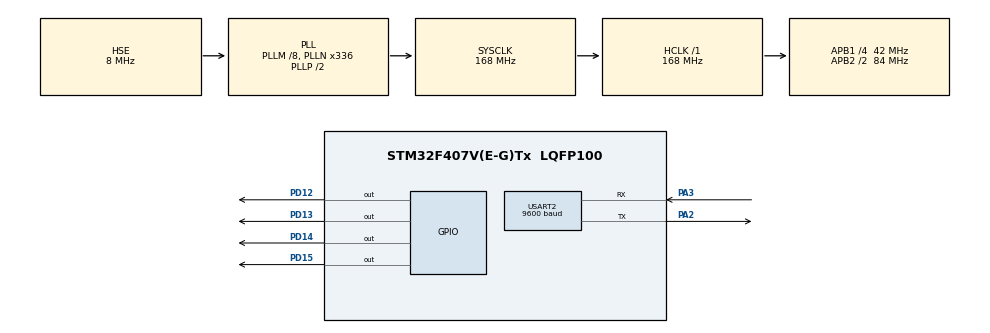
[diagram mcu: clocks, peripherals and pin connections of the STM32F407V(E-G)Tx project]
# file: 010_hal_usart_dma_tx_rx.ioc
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Dma.Request0=USART2_RX
Dma.Request1=USART2_TX
Dma.USART2_RX.0.Direction=DMA_PERIPH_TO_MEMORY
Dma.USART2_RX.0.FIFOMode=DMA_FIFOMODE_DISABLE
Dma.USART2_RX.0.Instance=DMA1_Stream5
Dma.USART2_RX.0.MemDataAlignment=DMA_MDATAALIGN_BYTE
Dma.USART2_RX.0.MemInc=DMA_MINC_ENABLE
Dma.USART2_RX.0.Mode=DMA_NORMAL
Dma.USART2_RX.0.PeriphDataAlignment=DMA_PDATAALIGN_BYTE
Dma.USART2_RX.0.PeriphInc=DMA_PINC_DISABLE
Dma.USART2_RX.0.Priority=DMA_PRIORITY_LOW
Dma.USART2_TX.1.Direction=DMA_MEMORY_TO_PERIPH
Dma.USART2_TX.1.FIFOMode=DMA_FIFOMODE_DISABLE
Dma.USART2_TX.1.Instance=DMA1_Stream6
Dma.USART2_TX.1.MemDataAlignment=DMA_MDATAALIGN_BYTE
Dma.USART2_TX.1.MemInc=DMA_MINC_ENABLE
Dma.USART2_TX.1.Mode=DMA_NORMAL
Dma.USART2_TX.1.PeriphDataAlignment=DMA_PDATAALIGN_BYTE
Dma.USART2_TX.1.PeriphInc=DMA_PINC_DISABLE
Dma.USART2_TX.1.Priority=DMA_PRIORITY_LOW
Mcu.Family=STM32F4
Mcu.Name=STM32F407V(E-G)Tx
Mcu.Package=LQFP100
NVIC.DMA1_Stream5_IRQn=true\:0\:0\:false\:false\:true\:false\:true\:true
NVIC.DMA1_Stream6_IRQn=true\:0\:0\:false\:false\:true\:false\:true\:true
NVIC.PriorityGroup=NVIC_PRIORITYGROUP_0
PA13.Mode=Serial_Wire
PA13.Signal=SYS_JTMS-SWDIO
PA14.Mode=Serial_Wire
PA14.Signal=SYS_JTCK-SWCLK
PA2.Mode=Asynchronous
PA2.Signal=USART2_TX
PA3.Mode=Asynchronous
PA3.Signal=USART2_RX
PD12.Signal=GPIO_Output
PD13.Signal=GPIO_Output
PD14.Signal=GPIO_Output
PD15.Signal=GPIO_Output
PH0-OSC_IN.Mode=HSE-External-Oscillator
PH0-OSC_IN.Signal=RCC_OSC_IN
PH1-OSC_OUT.Mode=HSE-External-Oscillator
PH1-OSC_OUT.Signal=RCC_OSC_OUT
ProjectManager.HeapSize=0x200
ProjectManager.StackSize=0x400
ProjectManager.TargetToolchain=STM32CubeIDE
RCC.48MHZClocksFreq_Value=48000000
RCC.AHBFreq_Value=168000000
RCC.APB1CLKDivider=RCC_HCLK_DIV4
RCC.APB1Freq_Value=42000000
RCC.APB1TimFreq_Value=84000000
RCC.APB2CLKDivider=RCC_HCLK_DIV2
RCC.APB2Freq_Value=84000000
RCC.APB2TimFreq_Value=168000000
RCC.CortexFreq_Value=168000000
RCC.HCLKFreq_Value=168000000
RCC.HSE_VALUE=8000000
RCC.HSI_VALUE=16000000
RCC.PLLM=8
RCC.PLLN=336
RCC.PLLQ=7
RCC.PLLSourceVirtual=RCC_PLLSOURCE_HSE
RCC.SYSCLKFreq_VALUE=168000000
RCC.SYSCLKSource=RCC_SYSCLKSOURCE_PLLCLK
RCC.VCOOutputFreq_Value=336000000
USART2.BaudRate=9600
USART2.VirtualMode=VM_ASYNC
board=STM32F407G-DISC1

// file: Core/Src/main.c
/* USER CODE BEGIN Header */
/**
  ******************************************************************************
  * @file           : main.c
  * @brief          : Main program body
  ******************************************************************************
  * @attention
  *
  * Copyright (c) 2023 STMicroelectronics.
  * All rights reserved.
  *
  * This software is licensed under terms that can be found in the LICENSE file
  * in the root directory of this software component.
  * If no LICENSE file comes with this software, it is provided AS-IS.
  *
  ******************************************************************************
  */
/* USER CODE END Header */
#include "main.h"

/* USER CODE BEGIN Includes */
#include <string.h>
#include <stdlib.h>
/* USER CODE END Includes */

UART_HandleTypeDef huart2;
DMA_HandleTypeDef hdma_usart2_rx;
DMA_HandleTypeDef hdma_usart2_tx;

void SystemClock_Config(void);
static void MX_GPIO_Init(void);
static void MX_DMA_Init(void);
static void MX_USART2_UART_Init(void);

/* USER CODE BEGIN 0 */

uint8_t rx[10],tx[100];
uint8_t cnt=0;

void HAL_UART_RxCpltCallback(UART_HandleTypeDef *huart){
	if(huart == &huart2){
		tx[cnt]=rx[0];
		//cnt++;
		HAL_UART_Receive_DMA(&huart2, rx, 1); // datas_rx[0] a gelicek sürekli 1 byte olarak
	}

}

/* USER CODE END 0 */

int main(void)
{

  /* MCU Configuration--------------------------------------------------------*/

  /* Reset of all peripherals, Initializes the Flash interface and the Systick. */
  HAL_Init();

  /* Configure the system clock */
  SystemClock_Config();

  /* Initialize all configured peripherals */
  MX_GPIO_Init();
  MX_DMA_Init();
  MX_USART2_UART_Init();
  /* USER CODE BEGIN 2 */

  HAL_UART_Receive_DMA(&huart2, rx, 1);

  /* USER CODE END 2 */

  /* Infinite loop */
  while (1)
  {

    /* USER CODE BEGIN 3 */

	  // sadece 1 defa transmit yapabiliyoruz ,flag felan var  onu  0 yapamadım.
	  if(tx[cnt]=='2'){ // uart ile aldıgın datalar char cinsinden gelir  ascll tablosuna göre hareket et.
		HAL_GPIO_WritePin(GPIOD, GPIO_PIN_12,0);
		HAL_UART_Transmit_DMA(&huart2, (uint8_t*)"omur loves banana\n",strlen("omur loves banana\n") );
		cnt++;
		HAL_Delay(100);
	  }else if(tx[cnt]=='3'){
		HAL_GPIO_WritePin(GPIOD, GPIO_PIN_12,GPIO_PIN_SET);
		HAL_UART_Transmit_DMA(&huart2, (uint8_t*)"ebru loves banana\n",strlen("ebru loves banana\n") );
		cnt++;
		HAL_Delay(100);
	  }

  }
  /* USER CODE END 3 */
}

void SystemClock_Config(void)
{
  RCC_OscInitTypeDef RCC_OscInitStruct = {0};
  RCC_ClkInitTypeDef RCC_ClkInitStruct = {0};

  /** Configure the main internal regulator output voltage
  */
  __HAL_RCC_PWR_CLK_ENABLE();
  __HAL_PWR_VOLTAGESCALING_CONFIG(PWR_REGULATOR_VOLTAGE_SCALE1);

  /** Initializes the RCC Oscillators according to the specified parameters
  * in the RCC_OscInitTypeDef structure.
  */
  RCC_OscInitStruct.OscillatorType = RCC_OSCILLATORTYPE_HSE;
  RCC_OscInitStruct.HSEState = RCC_HSE_ON;
  RCC_OscInitStruct.PLL.PLLState = RCC_PLL_ON;
  RCC_OscInitStruct.PLL.PLLSource = RCC_PLLSOURCE_HSE;
  RCC_OscInitStruct.PLL.PLLM = 8;
  RCC_OscInitStruct.PLL.PLLN = 336;
  RCC_OscInitStruct.PLL.PLLP = RCC_PLLP_DIV2;
  RCC_OscInitStruct.PLL.PLLQ = 7;
  if (HAL_RCC_OscConfig(&RCC_OscInitStruct) != HAL_OK)
  {
    Error_Handler();
  }

  /** Initializes the CPU, AHB and APB buses clocks
  */
  RCC_ClkInitStruct.ClockType = RCC_CLOCKTYPE_HCLK|RCC_CLOCKTYPE_SYSCLK
                              |RCC_CLOCKTYPE_PCLK1|RCC_CLOCKTYPE_PCLK2;
  RCC_ClkInitStruct.SYSCLKSource = RCC_SYSCLKSOURCE_PLLCLK;
  RCC_ClkInitStruct.AHBCLKDivider = RCC_SYSCLK_DIV1;
  RCC_ClkInitStruct.APB1CLKDivider = RCC_HCLK_DIV4;
  RCC_ClkInitStruct.APB2CLKDivider = RCC_HCLK_DIV2;

  if (HAL_RCC_ClockConfig(&RCC_ClkInitStruct, FLASH_LATENCY_5) != HAL_OK)
  {
    Error_Handler();
  }
}

static void MX_USART2_UART_Init(void)
{

  huart2.Instance = USART2;
  huart2.Init.BaudRate = 9600;
  huart2.Init.WordLength = UART_WORDLENGTH_8B;
  huart2.Init.StopBits = UART_STOPBITS_1;
  huart2.Init.Parity = UART_PARITY_NONE;
  huart2.Init.Mode = UART_MODE_TX_RX;
  huart2.Init.HwFlowCtl = UART_HWCONTROL_NONE;
  huart2.Init.OverSampling = UART_OVERSAMPLING_16;
  if (HAL_UART_Init(&huart2) != HAL_OK)
  {
    Error_Handler();
  }

}

static void MX_DMA_Init(void)
{

  /* DMA controller clock enable */
  __HAL_RCC_DMA1_CLK_ENABLE();

  /* DMA interrupt init */
  /* DMA1_Stream5_IRQn interrupt configuration */
  HAL_NVIC_SetPriority(DMA1_Stream5_IRQn, 0, 0);
  HAL_NVIC_EnableIRQ(DMA1_Stream5_IRQn);
  /* DMA1_Stream6_IRQn interrupt configuration */
  HAL_NVIC_SetPriority(DMA1_Stream6_IRQn, 0, 0);
  HAL_NVIC_EnableIRQ(DMA1_Stream6_IRQn);

}

static void MX_GPIO_Init(void)
{
  GPIO_InitTypeDef GPIO_InitStruct = {0};

  /* GPIO Ports Clock Enable */
  __HAL_RCC_GPIOH_CLK_ENABLE();
  __HAL_RCC_GPIOA_CLK_ENABLE();
  __HAL_RCC_GPIOD_CLK_ENABLE();

  /*Configure GPIO pin Output Level */
  HAL_GPIO_WritePin(GPIOD, GPIO_PIN_12|GPIO_PIN_13|GPIO_PIN_14|GPIO_PIN_15, GPIO_PIN_RESET);

  /*Configure GPIO pins : PD12 PD13 PD14 PD15 */
  GPIO_InitStruct.Pin = GPIO_PIN_12|GPIO_PIN_13|GPIO_PIN_14|GPIO_PIN_15;
  GPIO_InitStruct.Mode = GPIO_MODE_OUTPUT_PP;
  GPIO_InitStruct.Pull = GPIO_NOPULL;
  GPIO_InitStruct.Speed = GPIO_SPEED_FREQ_LOW;
  HAL_GPIO_Init(GPIOD, &GPIO_InitStruct);

}

void Error_Handler(void)
{
  __disable_irq();
  while (1)
  {
  }
}
